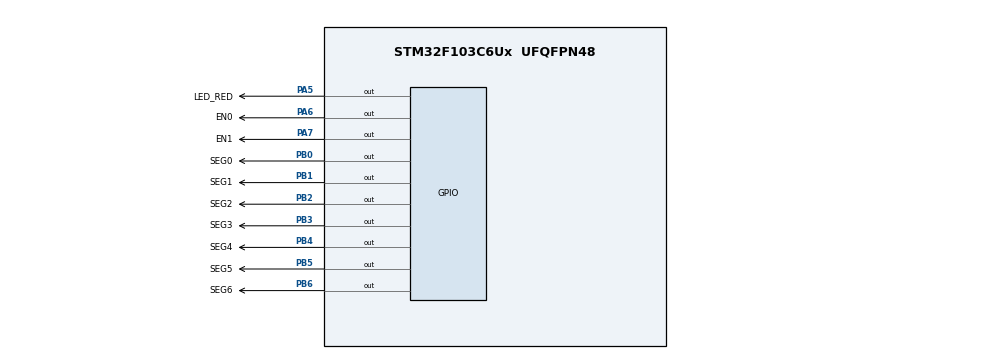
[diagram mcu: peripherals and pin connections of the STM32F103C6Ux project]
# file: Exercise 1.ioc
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Mcu.Family=STM32F1
Mcu.Name=STM32F103C6Ux
Mcu.Package=UFQFPN48
NVIC.PriorityGroup=NVIC_PRIORITYGROUP_4
NVIC.TIM2_IRQn=true\:0\:0\:false\:false\:true\:true\:true
PA5.GPIO_Label=LED_RED
PA5.Signal=GPIO_Output
PA6.GPIO_Label=EN0
PA6.Signal=GPIO_Output
PA7.GPIO_Label=EN1
PA7.Signal=GPIO_Output
PB0.GPIO_Label=SEG0
PB0.Signal=GPIO_Output
PB1.GPIO_Label=SEG1
PB1.Signal=GPIO_Output
PB2.GPIO_Label=SEG2
PB2.Signal=GPIO_Output
PB3.GPIO_Label=SEG3
PB3.Signal=GPIO_Output
PB4.GPIO_Label=SEG4
PB4.Signal=GPIO_Output
PB5.GPIO_Label=SEG5
PB5.Signal=GPIO_Output
PB6.GPIO_Label=SEG6
PB6.Signal=GPIO_Output
ProjectManager.HeapSize=0x200
ProjectManager.StackSize=0x400
ProjectManager.TargetToolchain=STM32CubeIDE
RCC.AHBFreq_Value=8000000
RCC.APB1Freq_Value=8000000
RCC.APB1TimFreq_Value=8000000
RCC.APB2Freq_Value=8000000
RCC.APB2TimFreq_Value=8000000
RCC.HCLKFreq_Value=8000000
TIM2.Period=9
TIM2.Prescaler=7999
VP_SYS_VS_ND.Mode=No_Debug
VP_TIM2_VS_ClockSourceINT.Mode=Internal
board=custom

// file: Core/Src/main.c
/* USER CODE BEGIN Header */
/**
  ******************************************************************************
  * @file           : main.c
  * @brief          : Main program body
  ******************************************************************************
  * @attention
  *
  * <h2><center>&copy; Copyright (c) 2024 STMicroelectronics.
  * All rights reserved.</center></h2>
  *
  * This software component is licensed by ST under BSD 3-Clause license,
  * the "License"; You may not use this file except in compliance with the
  * License. You may obtain a copy of the License at:
  *                        opensource.org/licenses/BSD-3-Clause
  *
  ******************************************************************************
  */
/* USER CODE END Header */
#include "main.h"

/* USER CODE BEGIN Includes */
#include "software_timer.h"
/* USER CODE END Includes */

TIM_HandleTypeDef htim2;

//UART_HandleTypeDef huart2;

void SystemClock_Config(void);
static void MX_GPIO_Init(void);
static void MX_TIM2_Init(void);
//static void MX_USART2_UART_Init(void);

void display7SEG(int num)
{
switch(num)
{
case 1:
	HAL_GPIO_WritePin(SEG0_GPIO_Port, SEG0_Pin, SET);
	HAL_GPIO_WritePin(SEG1_GPIO_Port, SEG1_Pin, RESET);
	HAL_GPIO_WritePin(SEG2_GPIO_Port, SEG2_Pin, RESET);
	HAL_GPIO_WritePin(SEG3_GPIO_Port, SEG3_Pin, SET);
	HAL_GPIO_WritePin(SEG4_GPIO_Port, SEG4_Pin, SET);
	HAL_GPIO_WritePin(SEG5_GPIO_Port, SEG5_Pin, SET);
	HAL_GPIO_WritePin(SEG6_GPIO_Port, SEG6_Pin, SET);
	break;
case 2:
	HAL_GPIO_WritePin(SEG0_GPIO_Port, SEG0_Pin, RESET);
	HAL_GPIO_WritePin(SEG1_GPIO_Port, SEG1_Pin, RESET);
	HAL_GPIO_WritePin(SEG2_GPIO_Port, SEG2_Pin, SET);
	HAL_GPIO_WritePin(SEG3_GPIO_Port, SEG3_Pin, RESET);
	HAL_GPIO_WritePin(SEG4_GPIO_Port, SEG4_Pin, RESET);
	HAL_GPIO_WritePin(SEG5_GPIO_Port, SEG5_Pin, SET);
	HAL_GPIO_WritePin(SEG6_GPIO_Port, SEG6_Pin, RESET);
	break;
}
}

int main(void)
{

  HAL_Init();

  SystemClock_Config();

  MX_GPIO_Init();
  MX_TIM2_Init();
  HAL_TIM_Base_Start_IT(&htim2);
 // MX_USART2_UART_Init();

  while (1)
  {
    /* USER CODE END WHILE */

  }
}

void SystemClock_Config(void)
{
  RCC_OscInitTypeDef RCC_OscInitStruct = {0};
  RCC_ClkInitTypeDef RCC_ClkInitStruct = {0};

  /** Initializes the RCC Oscillators according to the specified parameters
  * in the RCC_OscInitTypeDef structure.
  */
  RCC_OscInitStruct.OscillatorType = RCC_OSCILLATORTYPE_HSI;
  RCC_OscInitStruct.HSIState = RCC_HSI_ON;
  RCC_OscInitStruct.HSICalibrationValue = RCC_HSICALIBRATION_DEFAULT;
  RCC_OscInitStruct.PLL.PLLState = RCC_PLL_NONE;
  if (HAL_RCC_OscConfig(&RCC_OscInitStruct) != HAL_OK)
  {
    Error_Handler();
  }
  /** Initializes the CPU, AHB and APB buses clocks
  */
  RCC_ClkInitStruct.ClockType = RCC_CLOCKTYPE_HCLK|RCC_CLOCKTYPE_SYSCLK
                              |RCC_CLOCKTYPE_PCLK1|RCC_CLOCKTYPE_PCLK2;
  RCC_ClkInitStruct.SYSCLKSource = RCC_SYSCLKSOURCE_HSI;
  RCC_ClkInitStruct.AHBCLKDivider = RCC_SYSCLK_DIV1;
  RCC_ClkInitStruct.APB1CLKDivider = RCC_HCLK_DIV1;
  RCC_ClkInitStruct.APB2CLKDivider = RCC_HCLK_DIV1;

  if (HAL_RCC_ClockConfig(&RCC_ClkInitStruct, FLASH_LATENCY_0) != HAL_OK)
  {
    Error_Handler();
  }
}

static void MX_TIM2_Init(void)
{

  TIM_ClockConfigTypeDef sClockSourceConfig = {0};
  TIM_MasterConfigTypeDef sMasterConfig = {0};

  htim2.Instance = TIM2;
  htim2.Init.Prescaler = 0;
  htim2.Init.CounterMode = TIM_COUNTERMODE_UP;
  htim2.Init.Period = 65535;
  htim2.Init.ClockDivision = TIM_CLOCKDIVISION_DIV1;
  htim2.Init.AutoReloadPreload = TIM_AUTORELOAD_PRELOAD_DISABLE;
  if (HAL_TIM_Base_Init(&htim2) != HAL_OK)
  {
    Error_Handler();
  }
  sClockSourceConfig.ClockSource = TIM_CLOCKSOURCE_INTERNAL;
  if (HAL_TIM_ConfigClockSource(&htim2, &sClockSourceConfig) != HAL_OK)
  {
    Error_Handler();
  }
  sMasterConfig.MasterOutputTrigger = TIM_TRGO_RESET;
  sMasterConfig.MasterSlaveMode = TIM_MASTERSLAVEMODE_DISABLE;
  if (HAL_TIMEx_MasterConfigSynchronization(&htim2, &sMasterConfig) != HAL_OK)
  {
    Error_Handler();
  }

}

static void MX_GPIO_Init(void)
{
  GPIO_InitTypeDef GPIO_InitStruct = {0};

  /* GPIO Ports Clock Enable */
  __HAL_RCC_GPIOA_CLK_ENABLE();
  __HAL_RCC_GPIOB_CLK_ENABLE();

  /*Configure GPIO pin Output Level */
  HAL_GPIO_WritePin(GPIOA, LED_RED_Pin|EN0_Pin|EN1_Pin, GPIO_PIN_RESET);

  /*Configure GPIO pin Output Level */
  HAL_GPIO_WritePin(GPIOB, SEG0_Pin|SEG1_Pin|SEG2_Pin|SEG3_Pin
                          |SEG4_Pin|SEG5_Pin|SEG6_Pin, GPIO_PIN_RESET);

  /*Configure GPIO pins : LED_RED_Pin EN0_Pin EN1_Pin */
  GPIO_InitStruct.Pin = LED_RED_Pin|EN0_Pin|EN1_Pin;
  GPIO_InitStruct.Mode = GPIO_MODE_OUTPUT_PP;
  GPIO_InitStruct.Pull = GPIO_NOPULL;
  GPIO_InitStruct.Speed = GPIO_SPEED_FREQ_LOW;
  HAL_GPIO_Init(GPIOA, &GPIO_InitStruct);

  /*Configure GPIO pins : SEG0_Pin SEG1_Pin SEG2_Pin SEG3_Pin
                           SEG4_Pin SEG5_Pin SEG6_Pin */
  GPIO_InitStruct.Pin = SEG0_Pin|SEG1_Pin|SEG2_Pin|SEG3_Pin
                          |SEG4_Pin|SEG5_Pin|SEG6_Pin;
  GPIO_InitStruct.Mode = GPIO_MODE_OUTPUT_PP;
  GPIO_InitStruct.Pull = GPIO_NOPULL;
  GPIO_InitStruct.Speed = GPIO_SPEED_FREQ_LOW;
  HAL_GPIO_Init(GPIOB, &GPIO_InitStruct);

}

/* USER CODE BEGIN 4 */
int counter = 50;
int state = 0;
int counter1= 100;
void HAL_TIM_PeriodElapsedCallback(TIM_HandleTypeDef *htim)
{
	if(state == 0)
	{
		counter--;
		HAL_GPIO_WritePin(EN0_GPIO_Port, EN0_Pin, RESET);
		HAL_GPIO_WritePin(EN1_GPIO_Port, EN1_Pin, SET);
		display7SEG(1);
		if(counter <= 0)
		{
			counter = 50;
			state = 1;
		}
	}
	else if(state == 1)
	{
		counter--;
		HAL_GPIO_WritePin(EN0_GPIO_Port, EN0_Pin, SET);
		HAL_GPIO_WritePin(EN1_GPIO_Port, EN1_Pin, RESET);
		display7SEG (2);
		if(counter<= 0)
		{
			counter= 50;
			state = 0;
		}

		counter1--;
		if(counter1 <= 0)
		{
			counter1 = 100;
			HAL_GPIO_WritePin(LED_RED_GPIO_Port, LED_RED_Pin, RESET);
		}
	}
}
/* USER CODE END 4 */

void Error_Handler(void)
{
  __disable_irq();
  while (1)
  {
  }
}

/************************ (C) COPYRIGHT STMicroelectronics *****END OF FILE****/
